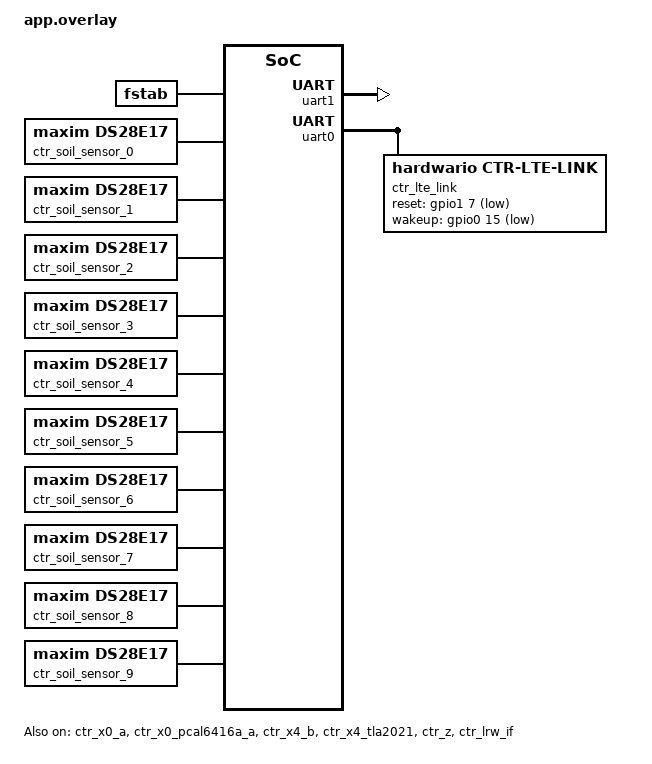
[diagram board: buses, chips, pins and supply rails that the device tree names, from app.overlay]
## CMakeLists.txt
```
#
# Copyright (c) 2024 HARDWARIO a.s.
#
# SPDX-License-Identifier: LicenseRef-HARDWARIO-5-Clause
#

cmake_minimum_required(VERSION 3.20.0)

set(ENV{FW_BUNDLE} "com.hardwario.chester.app.control")
set(ENV{FW_NAME} "CHESTER Control")

# Derive firmware version from git (see scripts/version.cmake); the fallback is
# used when git is unavailable at build time.
set(FW_VERSION_FALLBACK "v3.0.0")
include(${CMAKE_CURRENT_SOURCE_DIR}/../../scripts/version.cmake)

find_package(Zephyr REQUIRED HINTS $ENV{ZEPHYR_BASE})

project(chester-control)

include(${ZEPHYR_CHESTER_MODULE_DIR}/scripts/app_codec.cmake)

target_sources(app PRIVATE src/app_cbor.c)
target_sources(app PRIVATE src/app_config.c)
target_sources(app PRIVATE src/app_data.c)
target_sources(app PRIVATE src/app_sensor_drv.c)
target_sources(app PRIVATE src/drivers/drv_ld81.c)
target_sources(app PRIVATE src/app_handler.c)
target_sources(app PRIVATE src/app_init.c)
target_sources(app PRIVATE src/app_lrw.c)
target_sources(app PRIVATE src/app_send.c)
target_sources(app PRIVATE src/app_sensor.c)
target_sources(app PRIVATE src/app_shell.c)
target_sources(app PRIVATE src/app_work.c)
target_sources(app PRIVATE src/main.c)

target_precompile_headers(app PRIVATE src/feature.h)

# ### Preserved code "cmake" (begin)
include(${ZEPHYR_CHESTER_MODULE_DIR}/scripts/app_codec.cmake)
# ^^^ Preserved code "cmake" (end)
```

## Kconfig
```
#
# Copyright (c) 2024 HARDWARIO a.s.
#
# SPDX-License-Identifier: LicenseRef-HARDWARIO-5-Clause
#

menu "Application"

# HARDWARE-CHESTER-X0-A
config SHIELD_CTR_X0_A
	bool "Enable SHIELD_CTR_X0_A"
	default y

config CTR_X0
	default y
# HARDWARE-CHESTER-X4-B
config SHIELD_CTR_X4_B
	bool "Enable SHIELD_CTR_X4_B"
	default y

config CTR_X4
	default y
# HARDWARE-CHESTER-Z
config SHIELD_CTR_Z
	bool "Enable SHIELD_CTR_Z"
	default y

config CTR_Z
	default y

config I2C
	default y
# SUBSYSTEM-DS18B20
config SHIELD_CTR_DS18B20
	bool "Enable SHIELD_CTR_DS18B20"
	default y

config CTR_DS18B20
	default y
# SUBSYSTEM-LRW
config SHIELD_CTR_LRW
	bool "Enable SHIELD_CTR_LRW"
	default y

config CTR_LRW
	default y
# SUBSYSTEM-LTE-V2
config SHIELD_CTR_LTE_V2
	bool "Enable SHIELD_CTR_LTE_V2"
	default y

config CTR_LTE_V2
	default y
# SUBSYSTEM-SOIL-SENSOR
config SHIELD_CTR_SOIL_SENSOR
	bool "Enable SHIELD_CTR_SOIL_SENSOR"
	default y

config CTR_SOIL_SENSOR
	default y

# ### Preserved code "k_config" (begin)
# ^^^ Preserved code "k_config" (end)

rsource "Kconfig.variant"

endmenu

menu "Zephyr Kernel"
source "Kconfig.zephyr"
endmenu
```

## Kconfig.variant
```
#
# Copyright (c) 2024 HARDWARIO a.s.
#
# SPDX-License-Identifier: LicenseRef-HARDWARIO-5-Clause
#

config VARIANT_CHESTER_CONTROL_8CH_Z
    bool "Enable VARIANT_CHESTER_CONTROL_8CH_Z"
    default y
        
```

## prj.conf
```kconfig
#
# Copyright (c) 2024 HARDWARIO a.s.
#
# SPDX-License-Identifier: LicenseRef-HARDWARIO-5-Clause
#

# Configurations
# SUBSYSTEM-ACCEL
CONFIG_CTR_ACCEL=y
# SUBSYSTEM-ADC
CONFIG_CTR_ADC=y
# SUBSYSTEM-BATT
CONFIG_CTR_BATT=y
# SUBSYSTEM-BLE-TAG
CONFIG_CTR_BLE_TAG=y
# SUBSYSTEM-BLUETOOTH
CONFIG_CTR_BLE=y
# SUBSYSTEM-BT-FILTER-ACCEPT-LIST
CONFIG_BT_FILTER_ACCEPT_LIST=y
# SUBSYSTEM-BT-OBSERVER
CONFIG_BT_OBSERVER=y
# SUBSYSTEM-BUF
CONFIG_CTR_BUF=y
# SUBSYSTEM-BUTTON
CONFIG_CTR_BUTTON=y
# SUBSYSTEM-CLOUD
CONFIG_CTR_CLOUD=y
CONFIG_SETTINGS_SHELL=y
CONFIG_IMG_MANAGER=y
CONFIG_BOOTLOADER_MCUBOOT=y
CONFIG_SPI=y
CONFIG_DFU_TARGET=y
CONFIG_DFU_TARGET_STREAM=y
CONFIG_DFU_TARGET_MCUBOOT=y
CONFIG_DFU_TARGET_LOG_LEVEL_DBG=y
CONFIG_STREAM_FLASH_ERASE=y
CONFIG_STREAM_FLASH=y
CONFIG_FILE_SYSTEM=y
CONFIG_FILE_SYSTEM_LITTLEFS=y
CONFIG_FILE_SYSTEM_MKFS=y
CONFIG_FILE_SYSTEM_SHELL=y
CONFIG_SETTINGS_FILE=y
CONFIG_SETTINGS_FILE_PATH="/lfs1/settings/run"
# SUBSYSTEM-CONFIG
CONFIG_CTR_CONFIG=y
# SUBSYSTEM-DEFAULTS
CONFIG_CTR_DEFAULTS=y
# SUBSYSTEM-DS18B20
CONFIG_CTR_DS18B20=y
# SUBSYSTEM-EDGE
CONFIG_CTR_EDGE=y
# SUBSYSTEM-ENTROPY-GENERATOR
CONFIG_ENTROPY_GENERATOR=y
# SUBSYSTEM-INFO
CONFIG_CTR_INFO=y
# SUBSYSTEM-LED
CONFIG_CTR_LED=y
# SUBSYSTEM-LOG
CONFIG_CTR_LOG=y
# SUBSYSTEM-LRW
CONFIG_CTR_LRW=y
# SUBSYSTEM-LTE-V2
CONFIG_CTR_LTE_V2=y
# SUBSYSTEM-POWER
CONFIG_CTR_POWER=y
# SUBSYSTEM-RTC
CONFIG_CTR_RTC=y
# SUBSYSTEM-SHELL
CONFIG_CTR_SHELL=y
# SUBSYSTEM-SOIL-SENSOR
CONFIG_CTR_SOIL_SENSOR=y
# SUBSYSTEM-THERM
CONFIG_CTR_THERM=y
# SUBSYSTEM-WDOG
CONFIG_CTR_WDOG=y
# SUBSYSTEM-ZCBOR
CONFIG_ZCBOR=y
CONFIG_ZCBOR_STOP_ON_ERROR=y
# Extra configurations
CONFIG_ADC_SHELL=n
CONFIG_CTR_CLOUD_TRANSFER_BUF_SIZE=10240
CONFIG_GPIO_SHELL=y
CONFIG_HEAP_MEM_POOL_SIZE=32768
CONFIG_I2C_SHELL=y
CONFIG_ISR_TABLES_LOCAL_DECLARATION=y
CONFIG_LTO=y
CONFIG_MCUBOOT_SHELL=y
CONFIG_SYS_HEAP_RUNTIME_STATS=y

# ### Preserved code "config" (begin)
CONFIG_BUILD_OUTPUT_META=y
CONFIG_BUILD_OUTPUT_META_STATE_PROPAGATE=y
CONFIG_CTR_CLOUD_SPOOL=y
# ^^^ Preserved code "config" (end)
```

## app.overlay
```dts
/*
 * Copyright (c) 2024 HARDWARIO a.s.
 *
 * SPDX-License-Identifier: LicenseRef-HARDWARIO-5-Clause
 */

/* HARDWARE-CHESTER-X0-A  */
&ctr_x0_a {
	status = "okay";
};

&ctr_x0_pcal6416a_a {
	status = "okay";
};
/* HARDWARE-CHESTER-X4-B  */
&ctr_x4_b {
	status = "okay";
	line-measurement-interval = <1000>;
	line-threshold-min = <6000>;
	line-threshold-max = <9000>;
};

&ctr_x4_tla2021 {
	status = "okay";
};
/* HARDWARE-CHESTER-Z  */
&ctr_z {
	status = "okay";
};
/* SUBSYSTEM-CLOUD  */
/ {
	fstab {
		compatible = "zephyr,fstab";
		lfs1: lfs1 {
			compatible = "zephyr,fstab,littlefs";
			mount-point = "/lfs1";
			partition = <&littlefs_storage>;
			automount;
			read-size = <16>;
			prog-size = <16>;
			cache-size = <64>;
			lookahead-size = <32>;
			block-cycles = <512>;
		};
	};
};
/* SUBSYSTEM-DS18B20  */
&ds2484 {
	ds18b20_0: ds18b20_0 {
		compatible = "maxim,ds18b20";
		resolution = <12>;
		family-code = <0x28>;
	};

	ds18b20_1: ds18b20_1 {
		compatible = "maxim,ds18b20";
		resolution = <12>;
		family-code = <0x28>;
	};

	ds18b20_2: ds18b20_2 {
		compatible = "maxim,ds18b20";
		resolution = <12>;
		family-code = <0x28>;
	};

	ds18b20_3: ds18b20_3 {
		compatible = "maxim,ds18b20";
		resolution = <12>;
		family-code = <0x28>;
	};

	ds18b20_4: ds18b20_4 {
		compatible = "maxim,ds18b20";
		resolution = <12>;
		family-code = <0x28>;
	};

	ds18b20_5: ds18b20_5 {
		compatible = "maxim,ds18b20";
		resolution = <12>;
		family-code = <0x28>;
	};

	ds18b20_6: ds18b20_6 {
		compatible = "maxim,ds18b20";
		resolution = <12>;
		family-code = <0x28>;
	};

	ds18b20_7: ds18b20_7 {
		compatible = "maxim,ds18b20";
		resolution = <12>;
		family-code = <0x28>;
	};

	ds18b20_8: ds18b20_8 {
		compatible = "maxim,ds18b20";
		resolution = <12>;
		family-code = <0x28>;
	};

	ds18b20_9: ds18b20_9 {
		compatible = "maxim,ds18b20";
		resolution = <12>;
		family-code = <0x28>;
	};
};
/* SUBSYSTEM-LRW   */
&ctr_lrw_if {
	status = "okay";
};

&uart1 {
	status = "okay";
};
/* SUBSYSTEM-LTE-V2  */
/ {
	chosen {
		ctr,lte_link = &ctr_lte_link;
	};
};

&uart0 {
	status = "okay";

	ctr_lte_link: ctr_lte_link {
		compatible = "hardwario,ctr-lte-link";
		status = "okay";
		reset-gpios = <&gpio1 7 (GPIO_ACTIVE_LOW | GPIO_OPEN_DRAIN)>;
		wakeup-gpios = <&gpio0 15 (GPIO_ACTIVE_LOW | GPIO_OPEN_DRAIN)>;
	};
};

&uart0 {
	status = "okay";
};
/* SUBSYSTEM-SOIL-SENSOR  */
&ds2484 {
	ctr_soil_sensor_0: ctr_soil_sensor_0 {
		compatible = "maxim,ds28e17";
		family-code = <0x19>;
	};
	ctr_soil_sensor_1: ctr_soil_sensor_1 {
		compatible = "maxim,ds28e17";
		family-code = <0x19>;
	};
	ctr_soil_sensor_2: ctr_soil_sensor_2 {
		compatible = "maxim,ds28e17";
		family-code = <0x19>;
	};
	ctr_soil_sensor_3: ctr_soil_sensor_3 {
		compatible = "maxim,ds28e17";
		family-code = <0x19>;
	};
	ctr_soil_sensor_4: ctr_soil_sensor_4 {
		compatible = "maxim,ds28e17";
		family-code = <0x19>;
	};
	ctr_soil_sensor_5: ctr_soil_sensor_5 {
		compatible = "maxim,ds28e17";
		family-code = <0x19>;
	};
	ctr_soil_sensor_6: ctr_soil_sensor_6 {
		compatible = "maxim,ds28e17";
		family-code = <0x19>;
	};
	ctr_soil_sensor_7: ctr_soil_sensor_7 {
		compatible = "maxim,ds28e17";
		family-code = <0x19>;
	};
	ctr_soil_sensor_8: ctr_soil_sensor_8 {
		compatible = "maxim,ds28e17";
		family-code = <0x19>;
	};
	ctr_soil_sensor_9: ctr_soil_sensor_9 {
		compatible = "maxim,ds28e17";
		family-code = <0x19>;
	};
};

/* ### Preserved code "overlay" (begin) */
/* Previously the CHESTER Control had a missing pm_static.yml, which resulted
 * in a smaller littlefs_storage partition. To preserve compatibility with
 * already deployed CHESTERs, the partition needs to be kept at 24 kB.
 */
&spi_flash0 {
	partitions {
		littlefs_storage: partition@d0000 {
			label = "littlefs-storage";
			reg = <0xd0000 0x6000>;
		};
	};
};
/* ^^^ Preserved code "overlay" (end) */
```

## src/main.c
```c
/*
 * Copyright (c) 2024 HARDWARIO a.s.
 *
 * SPDX-License-Identifier: LicenseRef-HARDWARIO-5-Clause
 */

#include "app_init.h"
#include "app_config.h"

/* CHESTER includes */
#include <chester/ctr_cloud.h>
#include <chester/ctr_led.h>
#include <chester/ctr_lte_v2.h>
#include <chester/ctr_rtc.h>
#include <chester/ctr_wdog.h>

/* Zephyr includes */
#include <zephyr/kernel.h>
#include <zephyr/logging/log.h>

/* Standard includes */
#include <stdbool.h>

LOG_MODULE_REGISTER(main, LOG_LEVEL_DBG);

extern struct ctr_wdog_channel g_app_wdog_channel;

static bool should_feed_watchdog(void);

int main(void)
{
	int ret;

	LOG_INF("Build time: " __DATE__ " " __TIME__);

	ret = app_init();
	if (ret) {
		LOG_ERR("Call `app_init` failed: %d", ret);
		k_oops();
	}

	for (;;) {
		k_sleep(K_SECONDS(5));
		LOG_INF("Alive");

		switch (g_app_config.mode) {
		case APP_CONFIG_MODE_NONE:
			/* Blink yellow when LTE/LRW mode not configured*/
			ctr_led_set(CTR_LED_CHANNEL_Y, true);
			k_sleep(K_MSEC(30));
			ctr_led_set(CTR_LED_CHANNEL_Y, false);
			break;

#if defined(FEATURE_SUBSYSTEM_LTE_V2)
		case APP_CONFIG_MODE_LTE:
			struct ctr_lte_v2_cereg_param cereg_param;
			ctr_lte_v2_get_cereg_param(&cereg_param);

			enum ctr_led_channel led_channel =
				(cereg_param.stat == CTR_LTE_V2_CEREG_PARAM_STAT_REGISTERED_HOME ||
				 cereg_param.stat == CTR_LTE_V2_CEREG_PARAM_STAT_REGISTERED_ROAMING)
					? CTR_LED_CHANNEL_G
					: CTR_LED_CHANNEL_R;

			ctr_led_set(led_channel, true);
			k_sleep(K_MSEC(30));
			ctr_led_set(led_channel, false);
			break;
#endif /* defined(FEATURE_SUBSYSTEM_LTE_V2) */

		default:
			ctr_led_set(CTR_LED_CHANNEL_G, true);
			k_sleep(K_MSEC(30));
			ctr_led_set(CTR_LED_CHANNEL_G, false);
			break;
		}

		if (should_feed_watchdog()) {
			ret = ctr_wdog_feed(&g_app_wdog_channel);
			if (ret) {
				LOG_ERR("Call `ctr_wdog_feed` failed: %d", ret);
				k_oops();
			}
		}
	}

	return 0;
}

static bool should_feed_watchdog(void)
{

#if defined(FEATURE_SUBSYSTEM_LTE_V2)
	int ret;

	if (g_app_config.mode == APP_CONFIG_MODE_LTE) {

		if (g_app_config.downlink_wdg_interval) {
			int64_t downlink_ts;
			ret = ctr_cloud_get_last_seen_ts(&downlink_ts);

			if (ret) {
				LOG_WRN("No downlink timestamp");
				return false;
			}

			int64_t current_ts;
			ret = ctr_rtc_get_ts(&current_ts);
			if (ret) {
				LOG_ERR("Call `ctr_rtc_get_ts` failed: %d", ret);
				return false;
			}

			int64_t diff_ts = current_ts - downlink_ts;
			if (diff_ts > g_app_config.downlink_wdg_interval) {
				LOG_WRN("Downlink ts bigger than interval! %lld", diff_ts);
				return false;
			}
		}
	}
#endif /* defined(FEATURE_SUBSYSTEM_LTE_V2) */

	return true;
}
```

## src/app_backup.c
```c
/*
 * Copyright (c) 2024 HARDWARIO a.s.
 *
 * SPDX-License-Identifier: LicenseRef-HARDWARIO-5-Clause
 */

#include "app_backup.h"
#include "app_data.h"

/* CHESTER includes */
#include <chester/drivers/ctr_z.h>

/* Zephyr includes */
#include <zephyr/device.h>
#include <zephyr/devicetree.h>
#include <zephyr/kernel.h>
#include <zephyr/logging/log.h>

/* Standard includes */
#include <errno.h>
#include <math.h>

LOG_MODULE_REGISTER(app_backup, LOG_LEVEL_DBG);

#if defined(FEATURE_HARDWARE_CHESTER_Z)

int app_backup_sample(void)
{
	int ret;

	static const struct device *dev = DEVICE_DT_GET(DT_NODELABEL(ctr_z));

	if (!device_is_ready(dev)) {
		LOG_ERR("Device not ready");
		ret = -ENODEV;
		goto error;
	}

	struct ctr_z_status status;
	ret = ctr_z_get_status(dev, &status);
	if (ret) {
		LOG_ERR("Call `ctr_z_get_status` failed: %d", ret);
		goto error;
	}

	LOG_INF("DC input connected: %d", status.dc_input_connected);

	uint16_t vdc;
	ret = ctr_z_get_vdc_mv(dev, &vdc);
	if (ret) {
		LOG_ERR("Call `ctr_z_get_vdc_mv` failed: %d", ret);
		goto error;
	}

	LOG_INF("Voltage DC input: %u mV", vdc);

	uint16_t vbat;
	ret = ctr_z_get_vbat_mv(dev, &vbat);
	if (ret) {
		LOG_ERR("Call `ctr_z_get_vbat_mv` failed: %d", ret);
		goto error;
	}

	LOG_INF("Voltage backup battery: %u mV", vbat);

	app_data_lock();
	g_app_data.backup.line_present = status.dc_input_connected;
	g_app_data.backup.line_voltage = vdc / 1000.f;
	g_app_data.backup.battery_voltage = vbat / 1000.f;
	app_data_unlock();

	return 0;

error:
	app_data_lock();
	g_app_data.backup.line_present = false;
	g_app_data.backup.line_voltage = NAN;
	g_app_data.backup.battery_voltage = NAN;
	app_data_unlock();

	return ret;
}

int app_backup_clear(void)
{
	app_data_lock();
	g_app_data.backup.event_count = 0;
	app_data_unlock();

	return 0;
}

#endif /* defined(FEATURE_HARDWARE_CHESTER_Z) */
```

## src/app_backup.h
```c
/*
 * Copyright (c) 2023 HARDWARIO a.s.
 *
 * SPDX-License-Identifier: LicenseRef-HARDWARIO-5-Clause
 */

#ifndef APP_BACKUP_H_
#define APP_BACKUP_H_

#ifdef __cplusplus
extern "C" {
#endif

int app_backup_sample(void);
int app_backup_clear(void);

#ifdef __cplusplus
}
#endif

#endif /* APP_BACKUP_H_ */
```

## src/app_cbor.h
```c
/*
 * Copyright (c) 2024 HARDWARIO a.s.
 *
 * SPDX-License-Identifier: LicenseRef-HARDWARIO-5-Clause
 */

#ifndef APP_CBOR_H_
#define APP_CBOR_H_

/* Zephyr includes */
#include <zephyr/kernel.h>

#include <zcbor_common.h>

#ifdef __cplusplus
extern "C" {
#endif

struct app_cbor_received {
	bool has_output_1_state;
	int32_t output_1_state;
	bool has_output_2_state;
	int32_t output_2_state;
	bool has_output_3_state;
	int32_t output_3_state;
	bool has_output_4_state;
	int32_t output_4_state;
};

int app_cbor_encode(zcbor_state_t *zs);
int app_cbor_decode(zcbor_state_t *zs, struct app_cbor_received *received);

#ifdef __cplusplus
}
#endif

#endif /* APP_CBOR_H_ */
```

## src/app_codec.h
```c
#ifndef CODEC_H_
#define CODEC_H_

/* This file has been generated using the script gen-codec.py */

#ifdef __cplusplus
extern "C" {
#endif

#define CODEC_CLOUD_DECODER_HASH ((uint64_t)0xea8c7233208bad80)
#define CODEC_CLOUD_ENCODER_HASH ((uint64_t)0xc76a16dd617f713b)

enum codec_key_e {
	CODEC_KEY_E_MESSAGE = 0,
	CODEC_KEY_E_MESSAGE__VERSION = 1,
	CODEC_KEY_E_MESSAGE__SEQUENCE = 2,
	CODEC_KEY_E_MESSAGE__TIMESTAMP = 3,
	CODEC_KEY_E_SYSTEM = 4,
	CODEC_KEY_E_SYSTEM__UPTIME = 5,
	CODEC_KEY_E_SYSTEM__VOLTAGE_REST = 6,
	CODEC_KEY_E_SYSTEM__VOLTAGE_LOAD = 7,
	CODEC_KEY_E_SYSTEM__CURRENT_LOAD = 8,
	CODEC_KEY_E_BACKUP = 9,
	CODEC_KEY_E_BACKUP__LINE_VOLTAGE = 10,
	CODEC_KEY_E_BACKUP__BATT_VOLTAGE = 11,
	CODEC_KEY_E_BACKUP__STATE = 12,
	CODEC_KEY_E_BACKUP__EVENTS = 13,
	CODEC_KEY_E_NETWORK = 14,
	CODEC_KEY_E_NETWORK__PARAMETER = 15,
	CODEC_KEY_E_NETWORK__PARAMETER__EEST = 16,
	CODEC_KEY_E_NETWORK__PARAMETER__ECL = 17,
	CODEC_KEY_E_NETWORK__PARAMETER__RSRP = 18,
	CODEC_KEY_E_NETWORK__PARAMETER__RSRQ = 19,
	CODEC_KEY_E_NETWORK__PARAMETER__SNR = 20,
	CODEC_KEY_E_NETWORK__PARAMETER__PLMN = 21,
	CODEC_KEY_E_NETWORK__PARAMETER__CID = 22,
	CODEC_KEY_E_NETWORK__PARAMETER__BAND = 23,
	CODEC_KEY_E_NETWORK__PARAMETER__EARFCN = 24,
	CODEC_KEY_E_THERMOMETER = 25,
	CODEC_KEY_E_THERMOMETER__TEMPERATURE = 26,
	CODEC_KEY_E_ACCELEROMETER = 27,
	CODEC_KEY_E_ACCELEROMETER__ACCEL_X = 28,
	CODEC_KEY_E_ACCELEROMETER__ACCEL_Y = 29,
	CODEC_KEY_E_ACCELEROMETER__ACCEL_Z = 30,
	CODEC_KEY_E_ACCELEROMETER__ORIENTATION = 31,
	CODEC_KEY_E_TRIGGER = 32,
	CODEC_KEY_E_TRIGGER__CHANNEL = 33,
	CODEC_KEY_E_TRIGGER__STATE = 34,
	CODEC_KEY_E_TRIGGER__EVENTS = 35,
	CODEC_KEY_E_COUNTER = 36,
	CODEC_KEY_E_COUNTER__CHANNEL = 37,
	CODEC_KEY_E_COUNTER__VALUE = 38,
	CODEC_KEY_E_COUNTER__DELTA = 39,
	CODEC_KEY_E_COUNTER__MEASUREMENTS = 40,
	CODEC_KEY_E_VOLTAGE = 41,
	CODEC_KEY_E_VOLTAGE__CHANNEL = 42,
	CODEC_KEY_E_VOLTAGE__MEASUREMENTS_DIV = 43,
	CODEC_KEY_E_CURRENT = 44,
	CODEC_KEY_E_CURRENT__CHANNEL = 45,
	CODEC_KEY_E_CURRENT__MEASUREMENTS_DIV = 46,
	CODEC_KEY_E_HYGROMETER = 47,
	CODEC_KEY_E_HYGROMETER__TEMPERATURE = 48,
	CODEC_KEY_E_HYGROMETER__TEMPERATURE__MEASUREMENTS_DIV = 49,
	CODEC_KEY_E_HYGROMETER__HUMIDITY = 50,
	CODEC_KEY_E_HYGROMETER__HUMIDITY__MEASUREMENTS_DIV = 51,
	CODEC_KEY_E_W1_THERMOMETERS = 52,
	CODEC_KEY_E_W1_THERMOMETERS__SERIAL_NUMBER = 53,
	CODEC_KEY_E_W1_THERMOMETERS__MEASUREMENTS_DIV = 54,
	CODEC_KEY_E_SOIL_SENSORS = 55,
	CODEC_KEY_E_SOIL_SENSORS__SERIAL_NUMBER = 56,
	CODEC_KEY_E_SOIL_SENSORS__TEMPERATURE = 57,
	CODEC_KEY_E_SOIL_SENSORS__TEMPERATURE__MEASUREMENTS = 58,
	CODEC_KEY_E_SOIL_SENSORS__MOISTURE = 59,
	CODEC_KEY_E_SOIL_SENSORS__MOISTURE__MEASUREMENTS = 60,
	CODEC_KEY_E_BLE_TAGS = 61,
	CODEC_KEY_E_BLE_TAGS__ADDR = 62,
	CODEC_KEY_E_BLE_TAGS__RSSI = 63,
	CODEC_KEY_E_BLE_TAGS__VOLTAGE = 64,
	CODEC_KEY_E_BLE_TAGS__TEMPERATURE = 65,
	CODEC_KEY_E_BLE_TAGS__TEMPERATURE__MEASUREMENTS = 66,
	CODEC_KEY_E_BLE_TAGS__HUMIDITY = 67,
	CODEC_KEY_E_BLE_TAGS__HUMIDITY__MEASUREMENTS = 68,
};

enum codec_key_d {
	CODEC_KEY_D_OUTPUT_1_STATE = 0,
	CODEC_KEY_D_OUTPUT_2_STATE = 1,
	CODEC_KEY_D_OUTPUT_3_STATE = 2,
	CODEC_KEY_D_OUTPUT_4_STATE = 3,
};

#define CODEC_CLOUD_OPTIONS_STATIC(_name) \
	static const uint8_t _name##_cloud_decoder[] = CLOUD_DECODER_BUFFER; \
	static const uint8_t _name##_cloud_encoder[] = CLOUD_ENCODER_BUFFER; \
	static struct ctr_cloud_options _name = { \
		.decoder_hash = CODEC_CLOUD_DECODER_HASH, \
		.encoder_hash = CODEC_CLOUD_ENCODER_HASH, \
		.decoder_buf = _name##_cloud_decoder, \
		.decoder_len = 1990, \
		.encoder_buf = _name##_cloud_encoder, \
		.encoder_len = 179, \
}

#define CLOUD_DECODER_BUFFER { \
	0xa4, 0x67, 0x76, 0x65, 0x72, 0x73, 0x69, 0x6f, \
	0x6e, 0x02, 0x64, 0x74, 0x79, 0x70, 0x65, 0x67, \
	0x64, 0x65, 0x63, 0x6f, 0x64, 0x65, 0x72, 0x64, \
	0x6e, 0x61, 0x6d, 0x65, 0x78, 0x1d, 0x63, 0x6f, \
	0x6d, 0x2e, 0x68, 0x61, 0x72, 0x64, 0x77, 0x61, \
	0x72, 0x69, 0x6f, 0x2e, 0x63, 0x68, 0x65, 0x73, \
	0x74, 0x65, 0x72, 0x2e, 0x63, 0x6f, 0x6e, 0x74, \
	0x72, 0x6f, 0x6c, 0x66, 0x73, 0x63, 0x68, 0x65, \
	0x6d, 0x61, 0x8e, 0xa1, 0x67, 0x6d, 0x65, 0x73, \
	0x73, 0x61, 0x67, 0x65, 0x83, 0xa1, 0x67, 0x76, \
	0x65, 0x72, 0x73, 0x69, 0x6f, 0x6e, 0xf6, 0xa1, \
	0x68, 0x73, 0x65, 0x71, 0x75, 0x65, 0x6e, 0x63, \
	0x65, 0xf6, 0xa1, 0x69, 0x74, 0x69, 0x6d, 0x65, \
	0x73, 0x74, 0x61, 0x6d, 0x70, 0xf6, 0xa1, 0x66, \
	0x73, 0x79, 0x73, 0x74, 0x65, 0x6d, 0x84, 0xa1, \
	0x66, 0x75, 0x70, 0x74, 0x69, 0x6d, 0x65, 0xf6, \
	0xa1, 0x6c, 0x76, 0x6f, 0x6c, 0x74, 0x61, 0x67, \
	0x65, 0x5f, 0x72, 0x65, 0x73, 0x74, 0x82, 0xa1, \
	0x64, 0x24, 0x64, 0x69, 0x76, 0x19, 0x03, 0xe8, \
	0xa1, 0x64, 0x24, 0x66, 0x70, 0x70, 0x02, 0xa1, \
	0x6c, 0x76, 0x6f, 0x6c, 0x74, 0x61, 0x67, 0x65, \
	0x5f, 0x6c, 0x6f, 0x61, 0x64, 0x82, 0xa1, 0x64, \
	0x24, 0x64, 0x69, 0x76, 0x19, 0x03, 0xe8, 0xa1, \
	0x64, 0x24, 0x66, 0x70, 0x70, 0x02, 0xa1, 0x6c, \
	0x63, 0x75, 0x72, 0x72, 0x65, 0x6e, 0x74, 0x5f, \
	0x6c, 0x6f, 0x61, 0x64, 0xf6, 0xa1, 0x66, 0x62, \
	0x61, 0x63, 0x6b, 0x75, 0x70, 0x84, 0xa1, 0x6c, \
	0x6c, 0x69, 0x6e, 0x65, 0x5f, 0x76, 0x6f, 0x6c, \
	0x74, 0x61, 0x67, 0x65, 0x82, 0xa1, 0x64, 0x24, \
	0x64, 0x69, 0x76, 0x19, 0x03, 0xe8, 0xa1, 0x64, \
	0x24, 0x66, 0x70, 0x70, 0x02, 0xa1, 0x6c, 0x62, \
	0x61, 0x74, 0x74, 0x5f, 0x76, 0x6f, 0x6c, 0x74, \
	0x61, 0x67, 0x65, 0x82, 0xa1, 0x64, 0x24, 0x64, \
	0x69, 0x76, 0x19, 0x03, 0xe8, 0xa1, 0x64, 0x24, \
	0x66, 0x70, 0x70, 0x02, 0xa1, 0x65, 0x73, 0x74, \
	0x61, 0x74, 0x65, 0x81, 0xa1, 0x65, 0x24, 0x65, \
	0x6e, 0x75, 0x6d, 0x82, 0x6c, 0x64, 0x69, 0x73, \
	0x63, 0x6f, 0x6e, 0x6e, 0x65, 0x63, 0x74, 0x65, \
	0x64, 0x69, 0x63, 0x6f, 0x6e, 0x6e, 0x65, 0x63, \
	0x74, 0x65, 0x64, 0xa1, 0x66, 0x65, 0x76, 0x65, \
	0x6e, 0x74, 0x73, 0xf6, 0xa1, 0x67, 0x6e, 0x65, \
	0x74, 0x77, 0x6f, 0x72, 0x6b, 0x81, 0xa1, 0x69, \
	0x70, 0x61, 0x72, 0x61, 0x6d, 0x65, 0x74, 0x65, \
	0x72, 0x89, 0xa1, 0x64, 0x65, 0x65, 0x73, 0x74, \
	0xf6, 0xa1, 0x63, 0x65, 0x63, 0x6c, 0xf6, 0xa1, \
	0x64, 0x72, 0x73, 0x72, 0x70, 0xf6, 0xa1, 0x64, \
	0x72, 0x73, 0x72, 0x71, 0xf6, 0xa1, 0x63, 0x73, \
	0x6e, 0x72, 0xf6, 0xa1, 0x64, 0x70, 0x6c, 0x6d, \
	0x6e, 0xf6, 0xa1, 0x63, 0x63, 0x69, 0x64, 0xf6, \
	0xa1, 0x64, 0x62, 0x61, 0x6e, 0x64, 0xf6, 0xa1, \
	0x66, 0x65, 0x61, 0x72, 0x66, 0x63, 0x6e, 0xf6, \
	0xa1, 0x6b, 0x74, 0x68, 0x65, 0x72, 0x6d, 0x6f, \
	0x6d, 0x65, 0x74, 0x65, 0x72, 0x81, 0xa1, 0x6b, \
	0x74, 0x65, 0x6d, 0x70, 0x65, 0x72, 0x61, 0x74, \
	0x75, 0x72, 0x65, 0x82, 0xa1, 0x64, 0x24, 0x64, \
	0x69, 0x76, 0x18, 0x64, 0xa1, 0x64, 0x24, 0x66, \
	0x70, 0x70, 0x02, 0xa1, 0x6d, 0x61, 0x63, 0x63, \
	0x65, 0x6c, 0x65, 0x72, 0x6f, 0x6d, 0x65, 0x74, \
	0x65, 0x72, 0x84, 0xa1, 0x67, 0x61, 0x63, 0x63, \
	0x65, 0x6c, 0x5f, 0x78, 0x82, 0xa1, 0x64, 0x24, \
	0x64, 0x69, 0x76, 0x19, 0x03, 0xe8, 0xa1, 0x64, \
	0x24, 0x66, 0x70, 0x70, 0x02, 0xa1, 0x67, 0x61, \
	0x63, 0x63, 0x65, 0x6c, 0x5f, 0x79, 0x82, 0xa1, \
	0x64, 0x24, 0x64, 0x69, 0x76, 0x19, 0x03, 0xe8, \
	0xa1, 0x64, 0x24, 0x66, 0x70, 0x70, 0x02, 0xa1, \
	0x67, 0x61, 0x63, 0x63, 0x65, 0x6c, 0x5f, 0x7a, \
	0x82, 0xa1, 0x64, 0x24, 0x64, 0x69, 0x76, 0x19, \
	0x03, 0xe8, 0xa1, 0x64, 0x24, 0x66, 0x70, 0x70, \
	0x02, 0xa1, 0x6b, 0x6f, 0x72, 0x69, 0x65, 0x6e, \
	0x74, 0x61, 0x74, 0x69, 0x6f, 0x6e, 0xf6, 0xa1, \
	0x67, 0x74, 0x72, 0x69, 0x67, 0x67, 0x65, 0x72, \
	0x83, 0xa1, 0x67, 0x63, 0x68, 0x61, 0x6e, 0x6e, \
	0x65, 0x6c, 0xf6, 0xa1, 0x65, 0x73, 0x74, 0x61, \
	0x74, 0x65, 0x81, 0xa1, 0x65, 0x24, 0x65, 0x6e, \
	0x75, 0x6d, 0x82, 0x68, 0x69, 0x6e, 0x61, 0x63, \
	0x74, 0x69, 0x76, 0x65, 0x66, 0x61, 0x63, 0x74, \
	0x69, 0x76, 0x65, 0xa1, 0x66, 0x65, 0x76, 0x65, \
	0x6e, 0x74, 0x73, 0x81, 0xa1, 0x64, 0x24, 0x74, \
	0x73, 0x6f, 0x81, 0xa1, 0x64, 0x74, 0x79, 0x70, \
	0x65, 0x81, 0xa1, 0x65, 0x24, 0x65, 0x6e, 0x75, \
	0x6d, 0x82, 0x6b, 0x64, 0x65, 0x61, 0x63, 0x74, \
	0x69, 0x76, 0x61, 0x74, 0x65, 0x64, 0x69, 0x61, \
	0x63, 0x74, 0x69, 0x76, 0x61, 0x74, 0x65, 0x64, \
	0xa1, 0x67, 0x63, 0x6f, 0x75, 0x6e, 0x74, 0x65, \
	0x72, 0x84, 0xa1, 0x67, 0x63, 0x68, 0x61, 0x6e, \
	0x6e, 0x65, 0x6c, 0xf6, 0xa1, 0x65, 0x76, 0x61, \
	0x6c, 0x75, 0x65, 0xf6, 0xa1, 0x65, 0x64, 0x65, \
	0x6c, 0x74, 0x61, 0xf6, 0xa1, 0x6c, 0x6d, 0x65, \
	0x61, 0x73, 0x75, 0x72, 0x65, 0x6d, 0x65, 0x6e, \
	0x74, 0x73, 0x81, 0xa1, 0x64, 0x24, 0x74, 0x73, \
	0x70, 0x82, 0xa1, 0x65, 0x76, 0x61, 0x6c, 0x75, \
	0x65, 0xf6, 0xa1, 0x65, 0x64, 0x65, 0x6c, 0x74, \
	0x61, 0xf6, 0xa1, 0x67, 0x76, 0x6f, 0x6c, 0x74, \
	0x61, 0x67, 0x65, 0x82, 0xa1, 0x67, 0x63, 0x68, \
	0x61, 0x6e, 0x6e, 0x65, 0x6c, 0xf6, 0xa1, 0x70, \
	0x6d, 0x65, 0x61, 0x73, 0x75, 0x72, 0x65, 0x6d, \
	0x65, 0x6e, 0x74, 0x73, 0x5f, 0x64, 0x69, 0x76, \
	0x82, 0xa1, 0x64, 0x24, 0x6b, 0x65, 0x79, 0x6c, \
	0x6d, 0x65, 0x61, 0x73, 0x75, 0x72, 0x65, 0x6d, \
	0x65, 0x6e, 0x74, 0x73, 0xa1, 0x64, 0x24, 0x74, \
	0x73, 0x70, 0x84, 0xa1, 0x63, 0x6d, 0x69, 0x6e, \
	0x82, 0xa1, 0x64, 0x24, 0x64, 0x69, 0x76, 0x18, \
	0x64, 0xa1, 0x64, 0x24, 0x66, 0x70, 0x70, 0x02, \
	0xa1, 0x63, 0x6d, 0x61, 0x78, 0x82, 0xa1, 0x64, \
	0x24, 0x64, 0x69, 0x76, 0x18, 0x64, 0xa1, 0x64, \
	0x24, 0x66, 0x70, 0x70, 0x02, 0xa1, 0x63, 0x61, \
	0x76, 0x67, 0x82, 0xa1, 0x64, 0x24, 0x64, 0x69, \
	0x76, 0x18, 0x64, 0xa1, 0x64, 0x24, 0x66, 0x70, \
	0x70, 0x02, 0xa1, 0x63, 0x6d, 0x64, 0x6e, 0x82, \
	0xa1, 0x64, 0x24, 0x64, 0x69, 0x76, 0x18, 0x64, \
	0xa1, 0x64, 0x24, 0x66, 0x70, 0x70, 0x02, 0xa1, \
	0x67, 0x63, 0x75, 0x72, 0x72, 0x65, 0x6e, 0x74, \
	0x82, 0xa1, 0x67, 0x63, 0x68, 0x61, 0x6e, 0x6e, \
	0x65, 0x6c, 0xf6, 0xa1, 0x70, 0x6d, 0x65, 0x61, \
	0x73, 0x75, 0x72, 0x65, 0x6d, 0x65, 0x6e, 0x74, \
	0x73, 0x5f, 0x64, 0x69, 0x76, 0x82, 0xa1, 0x64, \
	0x24, 0x6b, 0x65, 0x79, 0x6c, 0x6d, 0x65, 0x61, \
	0x73, 0x75, 0x72, 0x65, 0x6d, 0x65, 0x6e, 0x74, \
	0x73, 0xa1, 0x64, 0x24, 0x74, 0x73, 0x70, 0x84, \
	0xa1, 0x63, 0x6d, 0x69, 0x6e, 0x82, 0xa1, 0x64, \
	0x24, 0x64, 0x69, 0x76, 0x18, 0x64, 0xa1, 0x64, \
	0x24, 0x66, 0x70, 0x70, 0x02, 0xa1, 0x63, 0x6d, \
	0x61, 0x78, 0x82, 0xa1, 0x64, 0x24, 0x64, 0x69, \
	0x76, 0x18, 0x64, 0xa1, 0x64, 0x24, 0x66, 0x70, \
	0x70, 0x02, 0xa1, 0x63, 0x61, 0x76, 0x67, 0x82, \
	0xa1, 0x64, 0x24, 0x64, 0x69, 0x76, 0x18, 0x64, \
	0xa1, 0x64, 0x24, 0x66, 0x70, 0x70, 0x02, 0xa1, \
	0x63, 0x6d, 0x64, 0x6e, 0x82, 0xa1, 0x64, 0x24, \
	0x64, 0x69, 0x76, 0x18, 0x64, 0xa1, 0x64, 0x24, \
	0x66, 0x70, 0x70, 0x02, 0xa1, 0x6a, 0x68, 0x79, \
	0x67, 0x72, 0x6f, 0x6d, 0x65, 0x74, 0x65, 0x72, \
	0x82, 0xa1, 0x6b, 0x74, 0x65, 0x6d, 0x70, 0x65, \
	0x72, 0x61, 0x74, 0x75, 0x72, 0x65, 0x81, 0xa1, \
	0x70, 0x6d, 0x65, 0x61, 0x73, 0x75, 0x72, 0x65, \
	0x6d, 0x65, 0x6e, 0x74, 0x73, 0x5f, 0x64, 0x69, \
	0x76, 0x82, 0xa1, 0x64, 0x24, 0x6b, 0x65, 0x79, \
	0x6c, 0x6d, 0x65, 0x61, 0x73, 0x75, 0x72, 0x65, \
	0x6d, 0x65, 0x6e, 0x74, 0x73, 0xa1, 0x64, 0x24, \
	0x74, 0x73, 0x70, 0x84, 0xa1, 0x63, 0x6d, 0x69, \
	0x6e, 0x82, 0xa1, 0x64, 0x24, 0x64, 0x69, 0x76, \
	0x18, 0x64, 0xa1, 0x64, 0x24, 0x66, 0x70, 0x70, \
	0x02, 0xa1, 0x63, 0x6d, 0x61, 0x78, 0x82, 0xa1, \
	0x64, 0x24, 0x64, 0x69, 0x76, 0x18, 0x64, 0xa1, \
	0x64, 0x24, 0x66, 0x70, 0x70, 0x02, 0xa1, 0x63, \
	0x61, 0x76, 0x67, 0x82, 0xa1, 0x64, 0x24, 0x64, \
	0x69, 0x76, 0x18, 0x64, 0xa1, 0x64, 0x24, 0x66, \
	0x70, 0x70, 0x02, 0xa1, 0x63, 0x6d, 0x64, 0x6e, \
	0x82, 0xa1, 0x64, 0x24, 0x64, 0x69, 0x76, 0x18, \
	0x64, 0xa1, 0x64, 0x24, 0x66, 0x70, 0x70, 0x02, \
	0xa1, 0x68, 0x68, 0x75, 0x6d, 0x69, 0x64, 0x69, \
	0x74, 0x79, 0x81, 0xa1, 0x70, 0x6d, 0x65, 0x61, \
	0x73, 0x75, 0x72, 0x65, 0x6d, 0x65, 0x6e, 0x74, \
	0x73, 0x5f, 0x64, 0x69, 0x76, 0x82, 0xa1, 0x64, \
	0x24, 0x6b, 0x65, 0x79, 0x6c, 0x6d, 0x65, 0x61, \
	0x73, 0x75, 0x72, 0x65, 0x6d, 0x65, 0x6e, 0x74, \
	0x73, 0xa1, 0x64, 0x24, 0x74, 0x73, 0x70, 0x84, \
	0xa1, 0x63, 0x6d, 0x69, 0x6e, 0x82, 0xa1, 0x64, \
	0x24, 0x64, 0x69, 0x76, 0x18, 0x64, 0xa1, 0x64, \
	0x24, 0x66, 0x70, 0x70, 0x02, 0xa1, 0x63, 0x6d, \
	0x61, 0x78, 0x82, 0xa1, 0x64, 0x24, 0x64, 0x69, \
	0x76, 0x18, 0x64, 0xa1, 0x64, 0x24, 0x66, 0x70, \
	0x70, 0x02, 0xa1, 0x63, 0x61, 0x76, 0x67, 0x82, \
	0xa1, 0x64, 0x24, 0x64, 0x69, 0x76, 0x18, 0x64, \
	0xa1, 0x64, 0x24, 0x66, 0x70, 0x70, 0x02, 0xa1, \
	0x63, 0x6d, 0x64, 0x6e, 0x82, 0xa1, 0x64, 0x24, \
	0x64, 0x69, 0x76, 0x18, 0x64, 0xa1, 0x64, 0x24, \
	0x66, 0x70, 0x70, 0x02, 0xa1, 0x6f, 0x77, 0x31, \
	0x5f, 0x74, 0x68, 0x65, 0x72, 0x6d, 0x6f, 0x6d, \
	0x65, 0x74, 0x65, 0x72, 0x73, 0x82, 0xa1, 0x6d, \
	0x73, 0x65, 0x72, 0x69, 0x61, 0x6c, 0x5f, 0x6e, \
	0x75, 0x6d, 0x62, 0x65, 0x72, 0xf6, 0xa1, 0x70, \
	0x6d, 0x65, 0x61, 0x73, 0x75, 0x72, 0x65, 0x6d, \
	0x65, 0x6e, 0x74, 0x73, 0x5f, 0x64, 0x69, 0x76, \
	0x82, 0xa1, 0x64, 0x24, 0x6b, 0x65, 0x79, 0x6c, \
	0x6d, 0x65, 0x61, 0x73, 0x75, 0x72, 0x65, 0x6d, \
	0x65, 0x6e, 0x74, 0x73, 0xa1, 0x64, 0x24, 0x74, \
	0x73, 0x70, 0x84, 0xa1, 0x63, 0x6d, 0x69, 0x6e, \
	0x82, 0xa1, 0x64, 0x24, 0x64, 0x69, 0x76, 0x18, \
	0x64, 0xa1, 0x64, 0x24, 0x66, 0x70, 0x70, 0x02, \
	0xa1, 0x63, 0x6d, 0x61, 0x78, 0x82, 0xa1, 0x64, \
	0x24, 0x64, 0x69, 0x76, 0x18, 0x64, 0xa1, 0x64, \
	0x24, 0x66, 0x70, 0x70, 0x02, 0xa1, 0x63, 0x61, \
	0x76, 0x67, 0x82, 0xa1, 0x64, 0x24, 0x64, 0x69, \
	0x76, 0x18, 0x64, 0xa1, 0x64, 0x24, 0x66, 0x70, \
	0x70, 0x02, 0xa1, 0x63, 0x6d, 0x64, 0x6e, 0x82, \
	0xa1, 0x64, 0x24, 0x64, 0x69, 0x76, 0x18, 0x64, \
	0xa1, 0x64, 0x24, 0x66, 0x70, 0x70, 0x02, 0xa1, \
	0x6c, 0x73, 0x6f, 0x69, 0x6c, 0x5f, 0x73, 0x65, \
	0x6e, 0x73, 0x6f, 0x72, 0x73, 0x83, 0xa1, 0x6d, \
	0x73, 0x65, 0x72, 0x69, 0x61, 0x6c, 0x5f, 0x6e, \
	0x75, 0x6d, 0x62, 0x65, 0x72, 0xf6, 0xa1, 0x6b, \
	0x74, 0x65, 0x6d, 0x70, 0x65, 0x72, 0x61, 0x74, \
	0x75, 0x72, 0x65, 0x81, 0xa1, 0x6c, 0x6d, 0x65, \
	0x61, 0x73, 0x75, 0x72, 0x65, 0x6d, 0x65, 0x6e, \
	0x74, 0x73, 0x81, 0xa1, 0x64, 0x24, 0x74, 0x73, \
	0x70, 0x84, 0xa1, 0x63, 0x6d, 0x69, 0x6e, 0x82, \
	0xa1, 0x64, 0x24, 0x64, 0x69, 0x76, 0x18, 0x64, \
	0xa1, 0x64, 0x24, 0x66, 0x70, 0x70, 0x02, 0xa1, \
	0x63, 0x6d, 0x61, 0x78, 0x82, 0xa1, 0x64, 0x24, \
	0x64, 0x69, 0x76, 0x18, 0x64, 0xa1, 0x64, 0x24, \
	0x66, 0x70, 0x70, 0x02, 0xa1, 0x63, 0x61, 0x76, \
	0x67, 0x82, 0xa1, 0x64, 0x24, 0x64, 0x69, 0x76, \
	0x18, 0x64, 0xa1, 0x64, 0x24, 0x66, 0x70, 0x70, \
	0x02, 0xa1, 0x63, 0x6d, 0x64, 0x6e, 0x82, 0xa1, \
	0x64, 0x24, 0x64, 0x69, 0x76, 0x18, 0x64, 0xa1, \
	0x64, 0x24, 0x66, 0x70, 0x70, 0x02, 0xa1, 0x68, \
	0x6d, 0x6f, 0x69, 0x73, 0x74, 0x75, 0x72, 0x65, \
	0x81, 0xa1, 0x6c, 0x6d, 0x65, 0x61, 0x73, 0x75, \
	0x72, 0x65, 0x6d, 0x65, 0x6e, 0x74, 0x73, 0x81, \
	0xa1, 0x64, 0x24, 0x74, 0x73, 0x70, 0x84, 0xa1, \
	0x63, 0x6d, 0x69, 0x6e, 0xf6, 0xa1, 0x63, 0x6d, \
	0x61, 0x78, 0xf6, 0xa1, 0x63, 0x61, 0x76, 0x67, \
	0xf6, 0xa1, 0x63, 0x6d, 0x64, 0x6e, 0xf6, 0xa1, \
	0x68, 0x62, 0x6c, 0x65, 0x5f, 0x74, 0x61, 0x67, \
	0x73, 0x85, 0xa1, 0x64, 0x61, 0x64, 0x64, 0x72, \
	0xf6, 0xa1, 0x64, 0x72, 0x73, 0x73, 0x69, 0xf6, \
	0xa1, 0x67, 0x76, 0x6f, 0x6c, 0x74, 0x61, 0x67, \
	0x65, 0x82, 0xa1, 0x64, 0x24, 0x64, 0x69, 0x76, \
	0x18, 0x64, 0xa1, 0x64, 0x24, 0x66, 0x70, 0x70, \
	0x02, 0xa1, 0x6b, 0x74, 0x65, 0x6d, 0x70, 0x65, \
	0x72, 0x61, 0x74, 0x75, 0x72, 0x65, 0x81, 0xa1, \
	0x6c, 0x6d, 0x65, 0x61, 0x73, 0x75, 0x72, 0x65, \
	0x6d, 0x65, 0x6e, 0x74, 0x73, 0x81, 0xa1, 0x64, \
	0x24, 0x74, 0x73, 0x70, 0x84, 0xa1, 0x63, 0x6d, \
	0x69, 0x6e, 0x82, 0xa1, 0x64, 0x24, 0x64, 0x69, \
	0x76, 0x18, 0x64, 0xa1, 0x64, 0x24, 0x66, 0x70, \
	0x70, 0x02, 0xa1, 0x63, 0x6d, 0x61, 0x78, 0x82, \
	0xa1, 0x64, 0x24, 0x64, 0x69, 0x76, 0x18, 0x64, \
	0xa1, 0x64, 0x24, 0x66, 0x70, 0x70, 0x02, 0xa1, \
	0x63, 0x61, 0x76, 0x67, 0x82, 0xa1, 0x64, 0x24, \
	0x64, 0x69, 0x76, 0x18, 0x64, 0xa1, 0x64, 0x24, \
	0x66, 0x70, 0x70, 0x02, 0xa1, 0x63, 0x6d, 0x64, \
	0x6e, 0x82, 0xa1, 0x64, 0x24, 0x64, 0x69, 0x76, \
	0x18, 0x64, 0xa1, 0x64, 0x24, 0x66, 0x70, 0x70, \
	0x02, 0xa1, 0x68, 0x68, 0x75, 0x6d, 0x69, 0x64, \
	0x69, 0x74, 0x79, 0x81, 0xa1, 0x6c, 0x6d, 0x65, \
	0x61, 0x73, 0x75, 0x72, 0x65, 0x6d, 0x65, 0x6e, \
	0x74, 0x73, 0x81, 0xa1, 0x64, 0x24, 0x74, 0x73, \
	0x70, 0x84, 0xa1, 0x63, 0x6d, 0x69, 0x6e, 0x82, \
	0xa1, 0x64, 0x24, 0x64, 0x69, 0x76, 0x18, 0x64, \
	0xa1, 0x64, 0x24, 0x66, 0x70, 0x70, 0x02, 0xa1, \
	0x63, 0x6d, 0x61, 0x78, 0x82, 0xa1, 0x64, 0x24, \
	0x64, 0x69, 0x76, 0x18, 0x64, 0xa1, 0x64, 0x24, \
	0x66, 0x70, 0x70, 0x02, 0xa1, 0x63, 0x61, 0x76, \
	0x67, 0x82, 0xa1, 0x64, 0x24, 0x64, 0x69, 0x76, \
	0x18, 0x64, 0xa1, 0x64, 0x24, 0x66, 0x70, 0x70, \
	0x02, 0xa1, 0x63, 0x6d, 0x64, 0x6e, 0x82, 0xa1, \
	0x64, 0x24, 0x64, 0x69, 0x76, 0x18, 0x64, 0xa1, \
	0x64, 0x24, 0x66, 0x70, 0x70, 0x02, \
}

#define CLOUD_ENCODER_BUFFER { \
	0xa4, 0x67, 0x76, 0x65, 0x72, 0x73, 0x69, 0x6f, \
	0x6e, 0x02, 0x64, 0x74, 0x79, 0x70, 0x65, 0x67, \
	0x65, 0x6e, 0x63, 0x6f, 0x64, 0x65, 0x72, 0x64, \
	0x6e, 0x61, 0x6d, 0x65, 0x78, 0x1d, 0x63, 0x6f, \
	0x6d, 0x2e, 0x68, 0x61, 0x72, 0x64, 0x77, 0x61, \
	0x72, 0x69, 0x6f, 0x2e, 0x63, 0x68, 0x65, 0x73, \
	0x74, 0x65, 0x72, 0x2e, 0x63, 0x6f, 0x6e, 0x74, \
	0x72, 0x6f, 0x6c, 0x66, 0x73, 0x63, 0x68, 0x65, \
	0x6d, 0x61, 0x84, 0xa1, 0x6e, 0x6f, 0x75, 0x74, \
	0x70, 0x75, 0x74, 0x5f, 0x31, 0x5f, 0x73, 0x74, \
	0x61, 0x74, 0x65, 0x81, 0xa1, 0x65, 0x24, 0x74, \
	0x79, 0x70, 0x65, 0x63, 0x69, 0x6e, 0x74, 0xa1, \
	0x6e, 0x6f, 0x75, 0x74, 0x70, 0x75, 0x74, 0x5f, \
	0x32, 0x5f, 0x73, 0x74, 0x61, 0x74, 0x65, 0x81, \
	0xa1, 0x65, 0x24, 0x74, 0x79, 0x70, 0x65, 0x63, \
	0x69, 0x6e, 0x74, 0xa1, 0x6e, 0x6f, 0x75, 0x74, \
	0x70, 0x75, 0x74, 0x5f, 0x33, 0x5f, 0x73, 0x74, \
	0x61, 0x74, 0x65, 0x81, 0xa1, 0x65, 0x24, 0x74, \
	0x79, 0x70, 0x65, 0x63, 0x69, 0x6e, 0x74, 0xa1, \
	0x6e, 0x6f, 0x75, 0x74, 0x70, 0x75, 0x74, 0x5f, \
	0x34, 0x5f, 0x73, 0x74, 0x61, 0x74, 0x65, 0x81, \
	0xa1, 0x65, 0x24, 0x74, 0x79, 0x70, 0x65, 0x63, \
	0x69, 0x6e, 0x74, \
}

#ifdef __cplusplus
}
#endif

#endif /* CODEC_H_ */
```

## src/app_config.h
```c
/*
 * Copyright (c) 2024 HARDWARIO a.s.
 *
 * SPDX-License-Identifier: LicenseRef-HARDWARIO-5-Clause
 */

#ifndef APP_CONFIG_H_
#define APP_CONFIG_H_

/* Zephyr includes */
#include <zephyr/shell/shell.h>

/* Standard includes */
#include <stdbool.h>
#include <stddef.h>

/* ### Preserved code "includes" (begin) */
#include <stdint.h>

#if defined(FEATURE_HARDWARE_CHESTER_X0_A)
/* Pluggable-sensor slots (LD-81 etc.). A sensor claims a power channel + a
 * measurement channel; see app_sensor_drv.h for the type catalog. */
#define APP_SENSORS_MAX            4
#define APP_CONFIG_SENSOR_STR_SIZE 32

struct app_config_sensor {
	uint8_t type_id;    /* 0 = none; catalog type id (app_sensor_drv.h) */
	uint8_t ch_power;   /* 1-based channel; 0 = sensor needs no power */
	uint8_t ch_measure; /* 1-based measurement channel */
};
#endif /* defined(FEATURE_HARDWARE_CHESTER_X0_A) */
/* ^^^ Preserved code "includes" (end) */

#ifdef __cplusplus
extern "C" {
#endif

enum app_config_mode {
	APP_CONFIG_MODE_NONE = 0,
	APP_CONFIG_MODE_LTE = 1,
	APP_CONFIG_MODE_LRW = 2,
};

#if defined(FEATURE_HARDWARE_CHESTER_X0_A)

enum app_config_channel_mode {
	APP_CONFIG_CHANNEL_MODE_DISABLED = 0,
	APP_CONFIG_CHANNEL_MODE_TRIGGER = 1,
	APP_CONFIG_CHANNEL_MODE_COUNTER = 2,
	APP_CONFIG_CHANNEL_MODE_VOLTAGE = 3,
	APP_CONFIG_CHANNEL_MODE_CURRENT = 4,
	APP_CONFIG_CHANNEL_MODE_POWER = 5,
};

#endif /* defined(FEATURE_HARDWARE_CHESTER_X0_A) */

#if defined(FEATURE_HARDWARE_CHESTER_X0_A)

enum app_config_input_type {
	APP_CONFIG_INPUT_TYPE_NPN = 0,
	APP_CONFIG_INPUT_TYPE_PNP = 1,
};

#endif /* defined(FEATURE_HARDWARE_CHESTER_X0_A) */

struct app_config {
	int interval_report;
	int interval_poll;
	int downlink_wdg_interval;
	int event_report_delay;
	int event_report_rate;

#if defined(FEATURE_HARDWARE_CHESTER_X0_A)
	enum app_config_channel_mode channel_mode_1;
	enum app_config_channel_mode channel_mode_2;
	enum app_config_channel_mode channel_mode_3;
	enum app_config_channel_mode channel_mode_4;
	enum app_config_input_type trigger_input_type;
	enum app_config_input_type counter_input_type;
	int trigger_duration_active;
	int trigger_duration_inactive;
	int trigger_cooldown_time;
	bool trigger_report_active;
	bool trigger_report_inactive;
	int counter_interval_aggreg;
	int counter_duration_active;
	int counter_duration_inactive;
	int counter_cooldown_time;
	int analog_interval_sample;
	int analog_interval_aggreg;
#endif /* defined(FEATURE_HARDWARE_CHESTER_X0_A) */

#if defined(FEATURE_HARDWARE_CHESTER_S2)
	int hygro_interval_sample;
	int hygro_interval_aggreg;
#endif /* defined(FEATURE_HARDWARE_CHESTER_S2) */

#if defined(FEATURE_SUBSYSTEM_DS18B20)
	int w1_therm_interval_sample;
	int w1_therm_interval_aggreg;
#endif /* defined(FEATURE_SUBSYSTEM_DS18B20) */

	enum app_config_mode mode;

	/* ### Preserved code "struct variables" (begin) */
#if defined(FEATURE_HARDWARE_CHESTER_X0_A)
	char sensor_str[APP_SENSORS_MAX][APP_CONFIG_SENSOR_STR_SIZE];
	struct app_config_sensor sensors[APP_SENSORS_MAX];
	int ld81_threshold_mv; /* LD-81 flood threshold; flood = mV above this */
#endif /* defined(FEATURE_HARDWARE_CHESTER_X0_A) */
	/* ^^^ Preserved code "struct variables" (end) */
};

extern struct app_config g_app_config;

int app_config_cmd_config_show(const struct shell *shell, size_t argc, char **argv);
int app_config_cmd_config_mode(const struct shell *shell, size_t argc, char **argv);

int app_config_cmd_config(const struct shell *shell, size_t argc, char **argv);

/* ### Preserved code "functions" (begin) */
#if defined(FEATURE_HARDWARE_CHESTER_X0_A)
/* Channel mode by 0-based channel index (0..APP_DATA_NUM_CHANNELS-1). */
enum app_config_channel_mode app_config_get_channel_mode(int ch_idx);
/* Sensor slot (0-based) owning a 1-based channel as power/measure, else -1. */
int app_config_channel_owner(int ch_num);
/* True when a parsed slot's channels are usable: in range for this build, and
 * distinct when the driver needs a power channel. Used both when loading a slot
 * from flash (which bypasses the shell path's validation) and before the runtime
 * indexes the channel lookup tables with them. */
bool app_config_sensor_channels_valid(const struct app_config_sensor *s);
#endif /* defined(FEATURE_HARDWARE_CHESTER_X0_A) */
/* ^^^ Preserved code "functions" (end) */

#ifdef __cplusplus
}
#endif

#endif /* APP_CONFIG_H_ */
```

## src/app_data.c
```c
/*
 * Copyright (c) 2024 HARDWARIO a.s.
 *
 * SPDX-License-Identifier: LicenseRef-HARDWARIO-5-Clause
 */

#include "app_data.h"

/* CHESTER includes */

/* Zephyr includes */
#include <zephyr/kernel.h>

/* Standard includes */
#include <limits.h>
#include <math.h>

/*
 * Keep `g_app_data` zero-initialized so it is placed in `.bss` (RAM only).
 * Non-zero initializers (NAN, INT_MAX) would move the whole structure to
 * `.data`, which occupies the same amount of FLASH and is copied on boot.
 * Non-zero defaults are set at runtime in `app_data_init()` instead.
 */
struct app_data g_app_data;

static K_MUTEX_DEFINE(m_lock);

int app_data_init(void)
{
	app_data_lock();

	g_app_data.accel_acceleration_x = NAN;
	g_app_data.accel_acceleration_y = NAN;
	g_app_data.accel_acceleration_z = NAN;
	g_app_data.accel_orientation = INT_MAX;
	g_app_data.therm_temperature = NAN;

#if defined(FEATURE_HARDWARE_CHESTER_S2)
	g_app_data.hygro.last_sample_temperature = NAN;
	g_app_data.hygro.last_sample_humidity = NAN;
#endif /* defined(FEATURE_HARDWARE_CHESTER_S2) */

#if defined(FEATURE_SUBSYSTEM_BLE_TAG)
	for (int i = 0; i < CTR_BLE_TAG_COUNT; i++) {
		g_app_data.ble_tag.sensor[i].last_sample_temperature = NAN;
		g_app_data.ble_tag.sensor[i].last_sample_humidity = NAN;
	}
#endif /* defined(FEATURE_SUBSYSTEM_BLE_TAG) */

	app_data_unlock();

	return 0;
}

void app_data_lock(void)
{
	k_mutex_lock(&m_lock, K_FOREVER);
}

void app_data_unlock(void)
{
	k_mutex_unlock(&m_lock);
}
```

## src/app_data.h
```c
/*
 * Copyright (c) 2024 HARDWARIO a.s.
 *
 * SPDX-License-Identifier: LicenseRef-HARDWARIO-5-Clause
 */

#ifndef APP_DATA_H_
#define APP_DATA_H_

/* CHESTER includes */
#include <chester/ctr_edge.h>
#include <chester/ctr_ble_tag.h>
#include <chester/application/ctr_data.h>

/* Application includes */
#include "app_config.h"
#include "app_sensor_drv.h"

/* Standard includes */
#include <stdbool.h>
#include <stdint.h>

/* TODO Delete */
#include <zephyr/kernel.h>

#if defined(FEATURE_HARDWARE_CHESTER_X0_B)
#define APP_DATA_NUM_CHANNELS 8
#else
#define APP_DATA_NUM_CHANNELS 4
#endif

#define APP_DATA_MAX_MEASUREMENTS 32
#define APP_DATA_MAX_SAMPLES      32

#define APP_DATA_ANALOG_MAX_SAMPLES      64
#define APP_DATA_ANALOG_MAX_MEASUREMENTS 64

#define APP_DATA_COUNTER_MAX_MEASUREMENTS 64

#define APP_DATA_MAX_TRIGGER_EVENTS 128

#define APP_DATA_HYGRO_MAX_SAMPLES      64
#define APP_DATA_HYGRO_MAX_MEASUREMENTS 64

#if defined(FEATURE_SUBSYSTEM_BLE_TAG)
#define APP_DATA_BLE_TAG_MAX_SAMPLES      16
#define APP_DATA_BLE_TAG_MAX_MEASUREMENTS 16
#endif /* defined(FEATURE_SUBSYSTEM_BLE_TAG) */

#if defined(FEATURE_SUBSYSTEM_DS18B20)
#define APP_DATA_W1_THERM_MAX_COUNT        5
#define APP_DATA_W1_THERM_MAX_SAMPLES      32
#define APP_DATA_W1_THERM_MAX_MEASUREMENTS 64
#endif /* defined(FEATURE_SUBSYSTEM_DS18B20) */

#define APP_DATA_SOIL_SENSOR_MAX_COUNT 3

#ifdef __cplusplus
extern "C" {
#endif

#if defined(FEATURE_HARDWARE_CHESTER_X0_A)

struct app_data_trigger_event {
	int64_t timestamp;
	bool is_active;
};

struct app_data_trigger {
	struct ctr_edge edge;
	bool trigger_active;
	int event_count;
	struct app_data_trigger_event events[APP_DATA_MAX_TRIGGER_EVENTS];
};

struct app_data_counter_measurement {
	uint64_t value;
	uint64_t delta;
};

struct app_data_counter {
	struct ctr_edge edge;
	int64_t timestamp;
	uint64_t value;
	uint64_t last_value;
	uint64_t delta;
	int measurement_count;
	struct app_data_counter_measurement measurements[APP_DATA_COUNTER_MAX_MEASUREMENTS];
};

struct app_data_analog {
	int64_t timestamp;
	float last_sample;
	int sample_count;
	float samples[APP_DATA_ANALOG_MAX_SAMPLES];
	int measurement_count;
	struct ctr_data_aggreg measurements[APP_DATA_ANALOG_MAX_MEASUREMENTS];
};

#endif /* defined(FEATURE_HARDWARE_CHESTER_X0_A) */

#if defined(FEATURE_HARDWARE_CHESTER_S2)

struct app_data_hygro_measurement {
	struct ctr_data_aggreg temperature;
	struct ctr_data_aggreg humidity;
};

struct app_data_hygro {
	float last_sample_temperature;
	float last_sample_humidity;
	int64_t timestamp;
	int sample_count;
	float samples_temperature[APP_DATA_HYGRO_MAX_SAMPLES];
	float samples_humidity[APP_DATA_HYGRO_MAX_SAMPLES];
	int measurement_count;
	struct app_data_hygro_measurement measurements[APP_DATA_HYGRO_MAX_MEASUREMENTS];
};

#endif /* defined(FEATURE_HARDWARE_CHESTER_S2) */

#if defined(FEATURE_SUBSYSTEM_DS18B20)
struct app_data_w1_therm_measurement {
	struct ctr_data_aggreg temperature;
};

struct app_data_w1_therm_sensor {
	uint64_t serial_number;

	float last_sample_temperature;

	int sample_count;
	float samples_temperature[APP_DATA_W1_THERM_MAX_SAMPLES];

	int measurement_count;
	struct app_data_w1_therm_measurement measurements[APP_DATA_W1_THERM_MAX_MEASUREMENTS];
};

struct app_data_w1_therm {
	struct app_data_w1_therm_sensor *sensor; /* heap-allocated array, length sensor_count */
	size_t sensor_count;

	int64_t timestamp;
	atomic_t sample;
	atomic_t aggreg;
};
#endif /* defined(FEATURE_SUBSYSTEM_DS18B20) */

#if defined(FEATURE_SUBSYSTEM_SOIL_SENSOR)

struct app_data_soil_sensor_measurement {
	struct ctr_data_aggreg temperature;
	struct ctr_data_aggreg moisture;
};

struct app_data_soil_sensor_sensor {
	uint64_t serial_number;

	int sample_count;
	float samples_temperature[APP_DATA_MAX_SAMPLES];
	float samples_moisture[APP_DATA_MAX_SAMPLES];

	int measurement_count;
	struct app_data_soil_sensor_measurement measurements[APP_DATA_MAX_MEASUREMENTS];
};

struct app_data_soil_sensor {
	struct app_data_soil_sensor_sensor *sensor; /* heap-allocated array, length sensor_count */
	size_t sensor_count;
	int64_t timestamp;
};

#endif /* defined(FEATURE_SUBSYSTEM_SOIL_SENSOR) */

#if defined(FEATURE_SUBSYSTEM_BLE_TAG)

struct app_data_ble_tag_measurement {
	struct ctr_data_aggreg temperature;
	struct ctr_data_aggreg humidity;
};

struct app_data_ble_tag_sensor {
	uint8_t addr[BT_ADDR_SIZE];

	int8_t rssi;
	float voltage;

	float last_sample_temperature;
	float last_sample_humidity;

	int sample_count;
	float samples_temperature[APP_DATA_BLE_TAG_MAX_SAMPLES];
	float samples_humidity[APP_DATA_BLE_TAG_MAX_SAMPLES];

	int measurement_count;
	struct app_data_ble_tag_measurement measurements[APP_DATA_BLE_TAG_MAX_MEASUREMENTS];
};

struct app_data_ble_tag {
	struct app_data_ble_tag_sensor sensor[CTR_BLE_TAG_COUNT];

	int64_t timestamp;
	atomic_t sample;
	atomic_t aggreg;
};

#endif /* defined(FEATURE_SUBSYSTEM_BLE_TAG) */

struct app_data {
	float therm_temperature;
	float accel_acceleration_x;
	float accel_acceleration_y;
	float accel_acceleration_z;
	int accel_orientation;

#if defined(FEATURE_HARDWARE_CHESTER_X0_A)
	struct app_data_trigger *trigger[APP_DATA_NUM_CHANNELS];
	struct app_data_counter *counter[APP_DATA_NUM_CHANNELS];
	struct app_data_analog *voltage[APP_DATA_NUM_CHANNELS];
	struct app_data_analog *current[APP_DATA_NUM_CHANNELS];
	/* Channel is driven by the sensor layer and is not sampled by the raw X0
	 * block (channel-mode-N == power). A flag rather than a record, because
	 * the mode carries no data of its own; the sensor's readings are reported
	 * in the `sensors` section. */
	bool power[APP_DATA_NUM_CHANNELS];
	/* Slot bookkeeping only; decoded data lives privately in each driver
	 * (drv_<type>.c) and is read through the driver's getter. */
	struct app_data_sensor {
		bool configured;
		/* ADC input and driver are set up. A configured slot whose setup failed
		 * stays configured, reports invalid, and retries before each sample. */
		bool ready;
		uint8_t type_id;
		uint8_t ch_power;
		uint8_t ch_measure;
	} sensors[APP_SENSORS_MAX];
#endif /* defined(FEATURE_HARDWARE_CHESTER_X0_A) */

#if defined(FEATURE_HARDWARE_CHESTER_S2)
	struct app_data_hygro hygro;
#endif /* defined(FEATURE_HARDWARE_CHESTER_S2) */

#if defined(FEATURE_SUBSYSTEM_DS18B20)
	struct app_data_w1_therm w1_therm;
#endif /* defined(FEATURE_SUBSYSTEM_DS18B20) */

#if defined(FEATURE_SUBSYSTEM_SOIL_SENSOR)
	struct app_data_soil_sensor soil_sensor;
#endif /* defined(FEATURE_SUBSYSTEM_SOIL_SENSOR) */

#if defined(FEATURE_SUBSYSTEM_BLE_TAG)
	struct app_data_ble_tag ble_tag;
#endif /* defined(FEATURE_SUBSYSTEM_BLE_TAG) */
};

extern struct app_data g_app_data;

int app_data_init(void);
void app_data_lock(void);
void app_data_unlock(void);

#ifdef __cplusplus
}
#endif

#endif /* APP_DATA_H_ */
```

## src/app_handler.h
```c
/*
 * Copyright (c) 2024 HARDWARIO a.s.
 *
 * SPDX-License-Identifier: LicenseRef-HARDWARIO-5-Clause
 */

#ifndef APP_HANDLER_H_
#define APP_HANDLER_H_

/* CHESTER includes */
#include <chester/ctr_button.h>
#include <chester/ctr_cloud.h>
#include <chester/ctr_edge.h>
#include <chester/ctr_lte.h>
#include <chester/ctr_lrw.h>
#include <chester/ctr_power.h>

#ifdef __cplusplus
extern "C" {
#endif

void app_handler_cloud_event(enum ctr_cloud_event event, union ctr_cloud_event_data *data,
			     void *param);

void app_handler_edge_trigger_callback(struct ctr_edge *edge, enum ctr_edge_event edge_event,
				       void *user_data);
void app_handler_edge_counter_callback(struct ctr_edge *edge, enum ctr_edge_event edge_event,
				       void *user_data);

#if defined(FEATURE_SUBSYSTEM_POWER)
void app_handler_power_event(const struct ctr_power_event *event, void *user_data);
#endif /* defined(FEATURE_SUBSYSTEM_POWER) */

#if defined(FEATURE_HARDWARE_CHESTER_X0_A)
/* Request an immediate report for a state change detected outside the edge
 * callbacks (e.g. a sensor alarm). Subject to the same `event-report-delay` and
 * `event-report-rate` limits as trigger events, so a flapping input cannot
 * exhaust the airtime budget. */
void app_handler_report_event(void);
#endif /* defined(FEATURE_HARDWARE_CHESTER_X0_A) */

void app_handler_ctr_button(enum ctr_button_channel chan, enum ctr_button_event ev, int val,
			    void *user_data);

#if defined(FEATURE_SUBSYSTEM_LRW)
void app_handler_lrw(enum ctr_lrw_event event, union ctr_lrw_event_data *data, void *param);
#endif /* defined(FEATURE_SUBSYSTEM_LRW) */

#ifdef __cplusplus
}
#endif

#endif /* APP_HANDLER_H_ */
```
